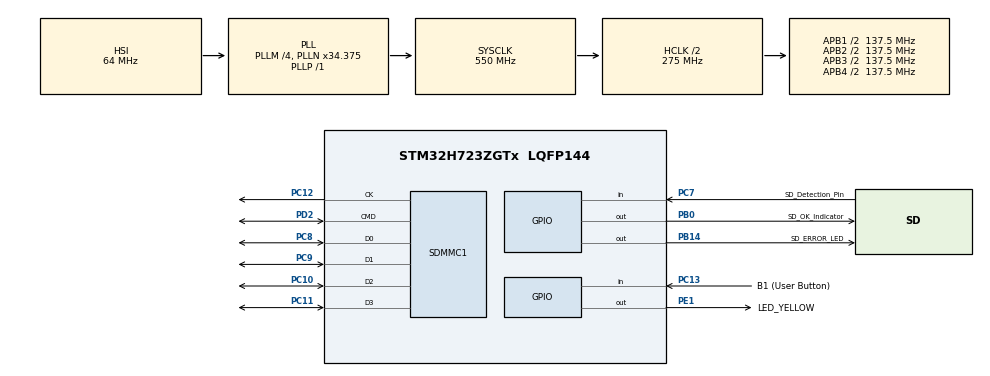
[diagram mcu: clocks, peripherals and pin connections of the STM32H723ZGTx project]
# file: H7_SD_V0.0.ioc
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CORTEX_M7.default_mode_Activation=1
FATFS.BSP.number=1
FATFS.USE_DMA_CODE_SD=0
FATFS0.BSP.STBoard=false
FATFS0.BSP.api=Unknown
FATFS0.BSP.instance=PC7
FATFS0.BSP.ip=GPIO
FATFS0.BSP.mode=Input
FATFS0.BSP.name=Detect_SDIO
FATFS0.BSP.solution=PC7
Mcu.Family=STM32H7
Mcu.Name=STM32H723ZGTx
Mcu.Package=LQFP144
NVIC.PriorityGroup=NVIC_PRIORITYGROUP_4
PA13(JTMS/SWDIO).GPIO_Label=SWDIO
PA13(JTMS/SWDIO).Mode=Trace_Asynchronous_SW
PA13(JTMS/SWDIO).Signal=DEBUG_JTMS-SWDIO
PA14(JTCK/SWCLK).GPIO_Label=SWCLK
PA14(JTCK/SWCLK).Mode=Trace_Asynchronous_SW
PA14(JTCK/SWCLK).Signal=DEBUG_JTCK-SWCLK
PB0.GPIO_Label=SD_OK_Indicator
PB0.Signal=GPIO_Output
PB14.GPIO_Label=SD_ERROR_LED
PB14.Signal=GPIO_Output
PB3(JTDO/TRACESWO).Mode=Trace_Asynchronous_SW
PB3(JTDO/TRACESWO).Signal=DEBUG_JTDO-SWO
PC10.Mode=SD_4_bits_Wide_bus
PC10.Signal=SDMMC1_D2
PC11.Mode=SD_4_bits_Wide_bus
PC11.Signal=SDMMC1_D3
PC12.Mode=SD_4_bits_Wide_bus
PC12.Signal=SDMMC1_CK
PC13.GPIO_Label=B1 (User Button)
PC13.Signal=GPIO_Input
PC14-OSC32_IN.Mode=LSE-External-Oscillator
PC14-OSC32_IN.Signal=RCC_OSC32_IN
PC15-OSC32_OUT.Mode=LSE-External-Oscillator
PC15-OSC32_OUT.Signal=RCC_OSC32_OUT
PC7.GPIO_Label=SD_Detection_Pin
PC7.Signal=GPIO_Input
PC8.Mode=SD_4_bits_Wide_bus
PC8.Signal=SDMMC1_D0
PC9.Mode=SD_4_bits_Wide_bus
PC9.Signal=SDMMC1_D1
PD2.Mode=SD_4_bits_Wide_bus
PD2.Signal=SDMMC1_CMD
PD8.GPIO_Label=STLK_VCP_RX
PD8.Signal=USART3_TX
PD9.GPIO_Label=STLK_VCP_TX
PD9.Signal=USART3_RX
PE1.GPIO_Label=LED_YELLOW
PE1.Signal=GPIO_Output
PH0-OSC_IN.Mode=HSE-External-Oscillator
PH0-OSC_IN.Signal=RCC_OSC_IN
PH1-OSC_OUT.Mode=HSE-External-Oscillator
PH1-OSC_OUT.Signal=RCC_OSC_OUT
ProjectManager.HeapSize=0x200
ProjectManager.StackSize=0x400
ProjectManager.TargetToolchain=STM32CubeIDE
RCC.ADCFreq_Value=608000000
RCC.APB1Freq_Value=137500000
RCC.APB2Freq_Value=137500000
RCC.APB3Freq_Value=137500000
RCC.APB4Freq_Value=137500000
RCC.CortexFreq_Value=550000000
RCC.D1PPRE=RCC_APB3_DIV2
RCC.D2PPRE1=RCC_APB1_DIV2
RCC.D2PPRE2=RCC_APB2_DIV2
RCC.D3PPRE=RCC_APB4_DIV2
RCC.DIVM1=4
RCC.DIVM2=1
RCC.DIVN1=34
RCC.DIVN2=19
RCC.DIVP1=1
RCC.DIVQ1=3
RCC.HCLKFreq_Value=275000000
RCC.HPRE=RCC_HCLK_DIV2
RCC.HSE_VALUE=8000000
RCC.PLLFRACN=3072
RCC.SYSCLKFreq_VALUE=550000000
RCC.SYSCLKSource=RCC_SYSCLKSOURCE_PLLCLK
RCC.USBCLockSelection=RCC_USBCLKSOURCE_HSI48
RCC.USBFreq_Value=48000000
VP_FATFS_VS_SDIO.Mode=SDIO
VP_MEMORYMAP_VS_MEMORYMAP.Mode=CurAppReg
board=NUCLEO-H723ZG

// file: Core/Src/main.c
/* USER CODE BEGIN Header */
/**
  ******************************************************************************
  * @file           : main.c
  * @brief          : Main program body
  ******************************************************************************
  * @attention
  *
  * Copyright (c) 2025 STMicroelectronics.
  * All rights reserved.
  *
  * This software is licensed under terms that can be found in the LICENSE file
  * in the root directory of this software component.
  * If no LICENSE file comes with this software, it is provided AS-IS.
  *
  ******************************************************************************
  */
/* USER CODE END Header */
#include "main.h"
#include "fatfs.h"
#include "memorymap.h"
#include "sdmmc.h"
#include "gpio.h"

/* USER CODE BEGIN Includes */
#include <stdio.h>
#include "sdcall.h"
/* USER CODE END Includes */

/* USER CODE BEGIN PD */
FATFS aaa;
static SD sd;
TrialData data;

/* USER CODE END PD */

void SystemClock_Config(void);
static void MPU_Config(void);
/* USER CODE BEGIN PFP */
void filesInit(FIL *_shortWriteFile, FIL *_longWriteFile);
void SDCardUpdateFastFile(FIL *_shortWriteFile, TrialData _data);
void SDCardUpdateSlowFile(FIL *_slowWriteFIle, TrialData _data);
void changeLine(FIL *_fil);
void writeStrField(FIL *_fil, char *val);
void writeIntField(FIL *_fil, int val);
void writeFloatField(FIL *_fil, float val);
void writeLongFloatField(FIL *_fil, float val);
void writeLongField(FIL *_fil, long val);
void SDCardInit();
/* USER CODE END PFP */

/* USER CODE BEGIN 0 */
FRESULT res;
static FIL slowFile;
static FIL fastFile;
/* USER CODE END 0 */

int main(void)
{

  /* MPU Configuration--------------------------------------------------------*/
  MPU_Config();

  /* MCU Configuration--------------------------------------------------------*/

  /* Reset of all peripherals, Initializes the Flash interface and the Systick. */
  HAL_Init();

  /* Configure the system clock */
  SystemClock_Config();

  /* Initialize all configured peripherals */
  MX_GPIO_Init();
  MX_SDMMC1_SD_Init();
  MX_FATFS_Init();
  /* USER CODE BEGIN 2 */
  SDCardInit();
  filesInit(&fastFile, &slowFile);
  HAL_Delay(100);

  FRESULT r;
  UINT bw;
  FIL testFile;

  r = f_mount(&aaa, "", 1);

  r = f_open(&testFile, "TEST.TXT", FA_WRITE | FA_CREATE_ALWAYS);

  r = f_write(&testFile, "KALA PAME DIKE MOU \r\n", 7, &bw);

  r = f_close(&testFile);

  /* USER CODE END 2 */

  /* Infinite loop */
  /* USER CODE BEGIN WHILE */
  while (1)
  {
	  if((uwTick - sd.slowFile.writeTime) > 100 - 1){
		  sd.slowFile.writeTime = uwTick;
		  SDCardUpdateSlowFile(&slowFile, data);
//		  HAL_GPIO_WritePin(SD_OK_Indicator_GPIO_Port, SD_OK_Indicator_Pin, GPIO_PIN_SET);
		  data.counterFlag++;
	  }

	  if((uwTick - sd.fastFile.writeTime) > 20 - 1){
		  sd.fastFile.writeTime = uwTick;
		  SDCardUpdateFastFile(&fastFile, data);
//		  HAL_GPIO_WritePin(LED_YELLOW_GPIO_Port, LED_YELLOW_Pin, GPIO_PIN_SET);
	  }
	  if((uwTick - sd.syncTime) > 1000 - 1){
		  sd.syncTime = uwTick;
		  FRESULT fresFast = f_sync(&fastFile);
		  FRESULT fresSlow = f_sync(&slowFile);
		  if(fresFast != FR_OK || fresSlow != FR_OK)  {
			  HAL_GPIO_WritePin(SD_OK_Indicator_GPIO_Port, SD_OK_Indicator_Pin, GPIO_PIN_RESET);
			  HAL_GPIO_WritePin(LED_YELLOW_GPIO_Port, LED_YELLOW_Pin, GPIO_PIN_RESET);
			  HAL_GPIO_WritePin(SD_ERROR_LED_GPIO_Port, SD_ERROR_LED_Pin, GPIO_PIN_SET);
//			  Error_Handler();
			  data.errorFlag++;
			  f_close(&fastFile);
			  f_mount(NULL, "", 0);
			  f_mount(&aaa, "", 1);
			  res = f_open(&fastFile, sd.fastFile.fileName, FA_WRITE | FA_OPEN_APPEND);
			  res = f_open(&slowFile, sd.slowFile.fileName, FA_WRITE | FA_OPEN_APPEND);
		  }
	  }
    /* USER CODE END WHILE */

  }
}

void SystemClock_Config(void)
{
  RCC_OscInitTypeDef RCC_OscInitStruct = {0};
  RCC_ClkInitTypeDef RCC_ClkInitStruct = {0};

  /** Supply configuration update enable
  */
  HAL_PWREx_ConfigSupply(PWR_LDO_SUPPLY);

  /** Configure the main internal regulator output voltage
  */
  __HAL_PWR_VOLTAGESCALING_CONFIG(PWR_REGULATOR_VOLTAGE_SCALE0);

  while(!__HAL_PWR_GET_FLAG(PWR_FLAG_VOSRDY)) {}

  /** Initializes the RCC Oscillators according to the specified parameters
  * in the RCC_OscInitTypeDef structure.
  */
  RCC_OscInitStruct.OscillatorType = RCC_OSCILLATORTYPE_HSI;
  RCC_OscInitStruct.HSIState = RCC_HSI_DIV1;
  RCC_OscInitStruct.HSICalibrationValue = 64;
  RCC_OscInitStruct.PLL.PLLState = RCC_PLL_ON;
  RCC_OscInitStruct.PLL.PLLSource = RCC_PLLSOURCE_HSI;
  RCC_OscInitStruct.PLL.PLLM = 4;
  RCC_OscInitStruct.PLL.PLLN = 34;
  RCC_OscInitStruct.PLL.PLLP = 1;
  RCC_OscInitStruct.PLL.PLLQ = 3;
  RCC_OscInitStruct.PLL.PLLR = 2;
  RCC_OscInitStruct.PLL.PLLRGE = RCC_PLL1VCIRANGE_3;
  RCC_OscInitStruct.PLL.PLLVCOSEL = RCC_PLL1VCOWIDE;
  RCC_OscInitStruct.PLL.PLLFRACN = 3072;
  if (HAL_RCC_OscConfig(&RCC_OscInitStruct) != HAL_OK)
  {
    Error_Handler();
  }

  /** Initializes the CPU, AHB and APB buses clocks
  */
  RCC_ClkInitStruct.ClockType = RCC_CLOCKTYPE_HCLK|RCC_CLOCKTYPE_SYSCLK
                              |RCC_CLOCKTYPE_PCLK1|RCC_CLOCKTYPE_PCLK2
                              |RCC_CLOCKTYPE_D3PCLK1|RCC_CLOCKTYPE_D1PCLK1;
  RCC_ClkInitStruct.SYSCLKSource = RCC_SYSCLKSOURCE_PLLCLK;
  RCC_ClkInitStruct.SYSCLKDivider = RCC_SYSCLK_DIV1;
  RCC_ClkInitStruct.AHBCLKDivider = RCC_HCLK_DIV2;
  RCC_ClkInitStruct.APB3CLKDivider = RCC_APB3_DIV2;
  RCC_ClkInitStruct.APB1CLKDivider = RCC_APB1_DIV2;
  RCC_ClkInitStruct.APB2CLKDivider = RCC_APB2_DIV2;
  RCC_ClkInitStruct.APB4CLKDivider = RCC_APB4_DIV2;

  if (HAL_RCC_ClockConfig(&RCC_ClkInitStruct, FLASH_LATENCY_3) != HAL_OK)
  {
    Error_Handler();
  }
}

/* USER CODE BEGIN 4 */
extern char SDPath[4];   /* SD logical drive path */
void SDCardInit(){
	sd.fastFile.fileCounter = 0;
	sprintf(sd.fastFile.fileName, "%s000.CSV", FILE_FAST_BASE_NAME);
	sd.fastFile.nameSize = sizeof(FILE_FAST_BASE_NAME) - 1;
	sd.slowFile.nameSize =  sizeof(FILE_SLOW_BASE_NAME) - 1;

	sd.slowFile.fileCounter = 0;
	sprintf(sd.slowFile.fileName, "%s000.CSV", FILE_SLOW_BASE_NAME);

	HAL_Delay(100);
	res = f_mount(&aaa, (TCHAR const*)SDPath, 1);
	while(res != FR_OK){
		HAL_Delay(500);
		res = f_mount(&aaa, (TCHAR const*)SDPath, 1);
		HAL_GPIO_WritePin(SD_ERROR_LED_GPIO_Port, SD_ERROR_LED_Pin, GPIO_PIN_SET);
	}

	while(f_stat(sd.fastFile.fileName, &sd.fileInfo) != FR_NO_FILE){
		if(sd.fastFile.fileName[sd.fastFile.nameSize + 2] != '9') {
			sd.fastFile.fileName[sd.fastFile.nameSize + 2]++;
			sd.fastFile.fileCounter++;
		}
		else if(sd.fastFile.fileName[sd.fastFile.nameSize + 1] != '9') {
			sd.fastFile.fileName[sd.fastFile.nameSize + 2] = '0';
			sd.fastFile.fileName[sd.fastFile.nameSize + 1]++;
			sd.fastFile.fileCounter++;
		}
		else if(sd.fastFile.fileName[sd.fastFile.nameSize] != '9'){
			sd.fastFile.fileName[sd.fastFile.nameSize + 2] = '0';
			sd.fastFile.fileName[sd.fastFile.nameSize + 1] = '0';
			sd.fastFile.fileName[sd.fastFile.nameSize]++;
			sd.fastFile.fileCounter++;
		}
		else Error_Handler();
	}

	while(f_stat(sd.slowFile.fileName, &sd.fileInfo) != FR_NO_FILE){
		if(sd.slowFile.fileName[sd.slowFile.nameSize + 2] != '9') {
			sd.slowFile.fileName[sd.slowFile.nameSize + 2]++;
			sd.slowFile.fileCounter++;
		}
		else if(sd.slowFile.fileName[sd.slowFile.nameSize + 1] != '9') {
			sd.slowFile.fileName[sd.slowFile.nameSize + 2] = '0';
			sd.slowFile.fileName[sd.slowFile.nameSize + 1]++;
			sd.slowFile.fileCounter++;
		}
		else if(sd.slowFile.fileName[sd.slowFile.nameSize] != '9'){
			sd.slowFile.fileName[sd.slowFile.nameSize + 2] = '0';
			sd.slowFile.fileName[sd.slowFile.nameSize + 1] = '0';
			sd.slowFile.fileName[sd.slowFile.nameSize]++;
			sd.slowFile.fileCounter++;
		}
		else break;
	}

	if(f_open(&fastFile, sd.fastFile.fileName, FA_WRITE | FA_READ | FA_CREATE_ALWAYS) != FR_OK) Error_Handler();
	HAL_Delay(10);

	if(f_open(&slowFile, sd.slowFile.fileName, FA_WRITE | FA_READ | FA_CREATE_ALWAYS) != FR_OK) Error_Handler();
	HAL_Delay(10);

	sd.fastFile.writeTime = uwTick;
	sd.slowFile.writeTime = uwTick;
	sd.syncTime = uwTick;
}
/* USER CODE END 4 */

 /* MPU Configuration */

void MPU_Config(void)
{
  MPU_Region_InitTypeDef MPU_InitStruct = {0};

  /* Disables the MPU */
  HAL_MPU_Disable();

  /** Initializes and configures the Region and the memory to be protected
  */
  MPU_InitStruct.Enable = MPU_REGION_ENABLE;
  MPU_InitStruct.Number = MPU_REGION_NUMBER0;
  MPU_InitStruct.BaseAddress = 0x0;
  MPU_InitStruct.Size = MPU_REGION_SIZE_4GB;
  MPU_InitStruct.SubRegionDisable = 0x87;
  MPU_InitStruct.TypeExtField = MPU_TEX_LEVEL0;
  MPU_InitStruct.AccessPermission = MPU_REGION_NO_ACCESS;
  MPU_InitStruct.DisableExec = MPU_INSTRUCTION_ACCESS_DISABLE;
  MPU_InitStruct.IsShareable = MPU_ACCESS_SHAREABLE;
  MPU_InitStruct.IsCacheable = MPU_ACCESS_NOT_CACHEABLE;
  MPU_InitStruct.IsBufferable = MPU_ACCESS_NOT_BUFFERABLE;

  HAL_MPU_ConfigRegion(&MPU_InitStruct);
  /* Enables the MPU */
  HAL_MPU_Enable(MPU_PRIVILEGED_DEFAULT);

}

void Error_Handler(void)
{
  __disable_irq();
  while (1)
  {
  }
}
